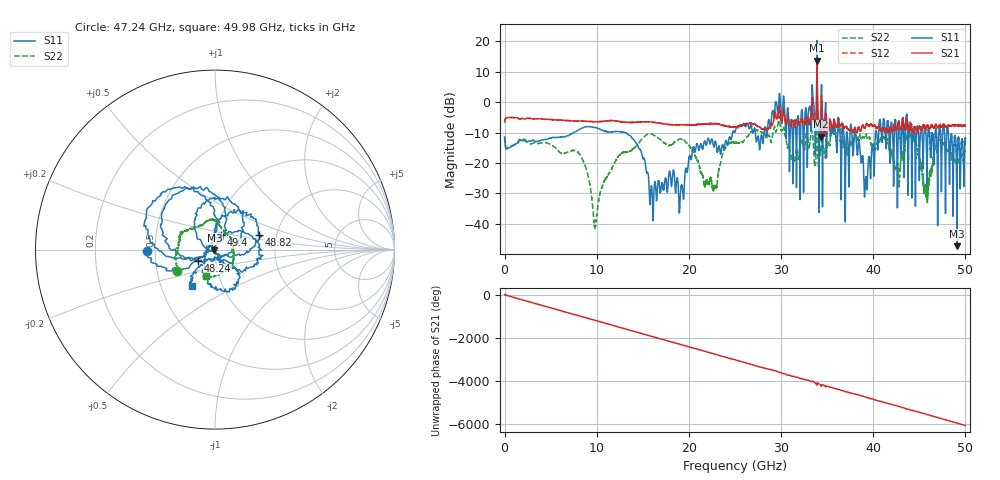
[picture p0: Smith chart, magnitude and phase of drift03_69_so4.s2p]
!Created with skrf (http://scikit-rf.org).
# Hz S RI R 50.0
!freq ReS11 ImS11 ReS21 ImS21 ReS12 ImS12 ReS22 ImS22
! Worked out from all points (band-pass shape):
!   10001 points, 300 kHz to 50 GHz, reference 50 ohm
!   highest |S21| = 13.58 dB at 33.9 GHz (marker M1); lowest = -11.4 dB at 34.32 GHz (marker M2)
!   |S21| within 3 dB of the highest: 33.89006 GHz to 33.90426 GHz (14.2 MHz wide, 0.0419 % of centre)
!   lowest |S11| = -47.3 dB at 49.08 GHz (marker M3), VSWR 1.01, Z = 49.7 - j0.294 ohm
!   |S11| at or under -10 dB: start of sweep to 7.486 GHz; 13.13 GHz to 24.74 GHz (11.61 GHz wide, 61.3 % of centre); 38.09 GHz to 40.25 GHz (2.159 GHz wide, 5.51 % of centre) (the widest 3 of 44)
!   |S22| runs from -41.4 to 6.0 dB; largest |S21 - S12| = 0.37
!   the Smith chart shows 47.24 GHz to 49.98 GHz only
!   S11 on the Smith chart (normalised r, x): 47.24 GHz: 0.45, -0.01; 48.24 GHz: 0.82, -0.11; 48.82 GHz: 1.62, +0.28; 49.4 GHz: 1.06, +0.17; 49.98 GHz: 0.72, -0.31
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300000  -0.2348 -0.1289  0.4657 0.0844  0.4646 0.0831  -0.2338 -0.1304
1.440291e9  0.2102 0.0645  -0.5479 -0.0295  -0.5482 -0.0292  0.2112 -0.00393
2.915283e9  -0.2121 -0.0879  0.5345 0.0517  0.5348 0.0515  -0.2019 0.0401
4.415274e9  0.2057 0.1324  -0.5221 -0.0423  -0.5222 -0.0421  0.1986 -0.0874
8.33525e9  0.2885 -0.2339  0.1463 0.4664  0.1462 0.4662  -0.0722 -0.1017
9.840241e9  -0.3651 0.1252  -0.1433 -0.4538  -0.1433 -0.454  0.00875 0.00219
1.66702e10  0.0267 0.0432  -0.3784 0.2528  -0.3787 0.2537  -0.1291 -0.22
2.500015e10  -0.3268 -0.015  -0.256 -0.2978  -0.2542 -0.2991  -0.2135 0.0272
2.895013e10  -0.3229 0.4223  -0.2928 0.3244  -0.3038 0.288  0.0627 0.2216
3.006512e10  0.4 0.2642  0.4505 -0.1978  0.4543 -0.1827  0.175 -0.2967
3.171011e10  -0.0914 0.1865  -0.3626 0.3584  -0.3631 0.3561  0.0667 0.1603
3.33351e10  0.6802 -0.8082  0.2711 -0.8606  0.2718 -0.8368  -0.1855 -0.4346
3.38951e10  -2.824 -9.891  -4.68 0.9634  -4.366 1.155  0.5808 1.914
3.432009e10  -0.7758 -0.00147  -0.1819 0.1999  -0.2434 0.1801  0.1415 -0.076
4.167005e10  -0.207 0.3007  0.3151 0.00039  0.3141 0.00751  -0.1896 -0.0132
4.724002e10  -0.3793 -0.00802  0.2939 0.3086  0.2996 0.3085  -0.2091 -0.117
4.824001e10  -0.0945 -0.0648  0.1081 -0.3969  0.1082 -0.3994  -0.0171 0.1701
4.882001e10  0.2457 0.0808  -0.3527 -0.2183  -0.3536 -0.2181  0.099 0.0547
4.907501e10  -0.00314 -0.00296  -0.422 -0.016  -0.422 -0.0165  0.0977 0.0119
4.94e10  0.0355 0.0808  -0.3355 0.2478  -0.3335 0.2521  0.1009 -0.0629
4.998e10  -0.1284 -0.2035  0.1197 0.3911  0.1216 0.3902  -0.0508 -0.1497
5e10  -0.1217 -0.2247  0.1437 0.3859  0.1426 0.3829  -0.0539 -0.1449
